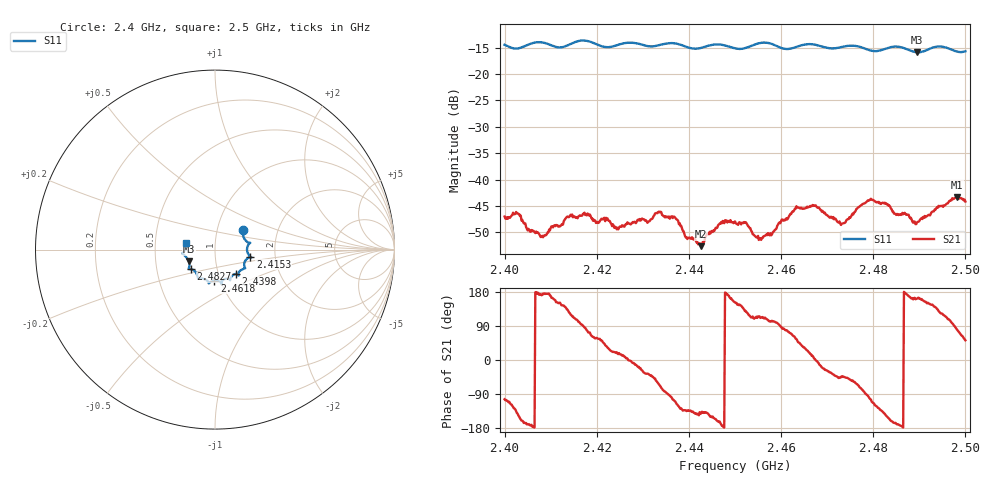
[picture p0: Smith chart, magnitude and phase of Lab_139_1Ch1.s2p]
# Hz S RI R 50
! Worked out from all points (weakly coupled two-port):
!   601 points, 2.4 GHz to 2.5 GHz, reference 50 ohm
!   highest |S21| = -43.38 dB at 2.4982 GHz (marker M1); lowest = -52.6 dB at 2.4427 GHz (marker M2)
!   lowest |S11| = -15.9 dB at 2.4895 GHz (marker M3), VSWR 1.38, Z = 37 - j5 ohm
!   |S11| at or under -10 dB: start of sweep to end of sweep
!   S12 and S22 are empty: the file has one direction only
!   S11 on the Smith chart (normalised r, x): 2.4 GHz: 1.33, +0.29; 2.4153 GHz: 1.48, -0.12; 2.4398 GHz: 1.21, -0.34; 2.4618 GHz: 0.94, -0.33; 2.4827 GHz: 0.75, -0.17; 2.5 GHz: 0.72, +0.06
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2.4e9  0.1555 0.1068  -0.00106 -0.00435  0 0  0 0
2.403e9  0.1644 0.0591  -0.00395 -0.0026  0 0  0 0
2.408167e9  0.1951 0.0374  -0.00291 0.000428  0 0  0 0
2.415333e9  0.1967 -0.0391  -0.00144 0.0042  0 0  0 0
2.416667e9  0.2025 -0.0433  -0.000273 0.00454  0 0  0 0
2.424333e9  0.1631 -0.091  0.00317 0.00119  0 0  0 0
2.433333e9  0.1298 -0.1338  0.00234 -0.00433  0 0  0 0
2.437167e9  0.1313 -0.1431  -0.00162 -0.00394  0 0  0 0
2.439833e9  0.1153 -0.1357  -0.0019 -0.00207  0 0  0 0
2.442667e9  0.0908 -0.1514  -0.00181 -0.00149  0 0  0 0
2.446833e9  0.0844 -0.1698  -0.00371 -0.00088  0 0  0 0
2.45e9  0.0654 -0.1622  -0.00356 0.00186  0 0  0 0
2.455667e9  0.0376 -0.1933  -0.001 0.00249  0 0  0 0
2.461833e9  -0.00339 -0.1728  0.00144 0.00435  0 0  0 0
2.466667e9  -0.0349 -0.1879  0.00552 0.00105  0 0  0 0
2.473333e9  -0.0835 -0.1599  0.00283 -0.0026  0 0  0 0
2.479e9  -0.1032 -0.1335  -0.000792 -0.00627  0 0  0 0
2.482667e9  -0.1349 -0.1088  -0.00485 -0.00338  0 0  0 0
2.483333e9  -0.1401 -0.1084  -0.00506 -0.00251  0 0  0 0
2.4895e9  -0.146 -0.0659  -0.00374 0.00122  0 0  0 0
2.498167e9  -0.1627 0.0072  0.00113 0.00668  0 0  0 0
2.5e9  -0.1593 0.0385  0.00382 0.00488  0 0  0 0
